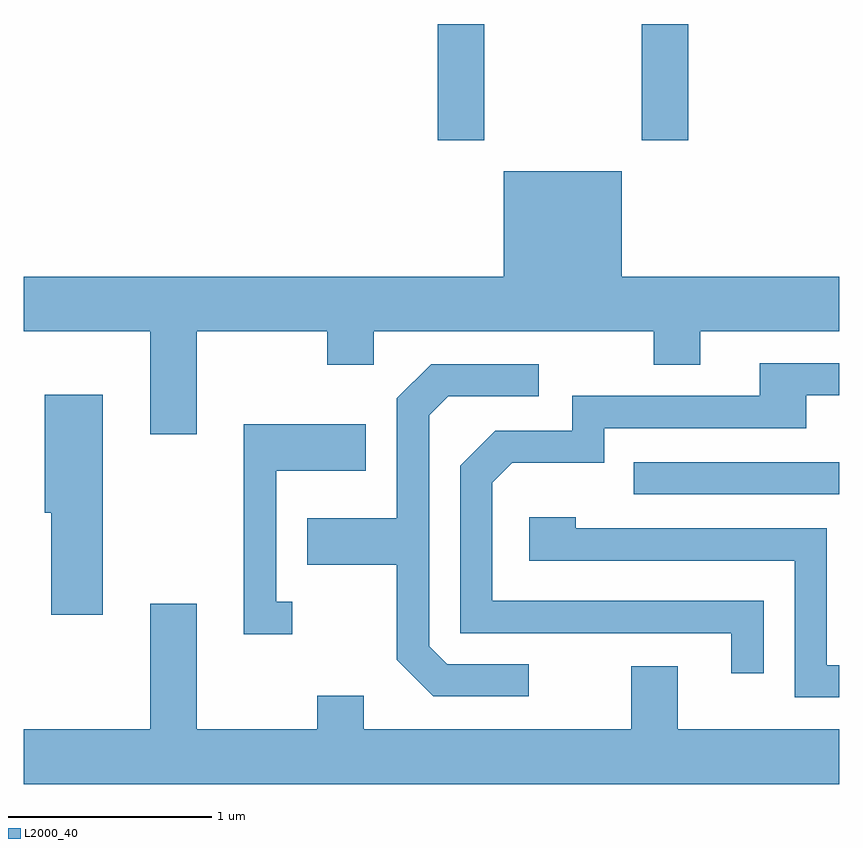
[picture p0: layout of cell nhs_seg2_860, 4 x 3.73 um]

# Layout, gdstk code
import gdstk
lib = gdstk.Library(unit=1e-6, precision=1e-09)
def R(c, l, rs):  # rectangles x0, y0, x1, y1
    for r in rs: c.add(gdstk.rectangle(r[:2], r[2:], *l))
def P(c, l, *ps):  # polygons
    for p in ps: c.add(gdstk.Polygon(p, *l))
L2000_40 = (2000, 40)

nhs_seg2_860 = lib.new_cell('nhs_seg2_860')
R(nhs_seg2_860, L2000_40, [(212.603,1067.496,213.611,1067.654), (211.641,1069.231,211.869,1069.802), (212.641,1069.231,212.869,1069.802)])
P(nhs_seg2_860, L2000_40, [(210.459,1068.296),(211.101,1068.296),(211.101,1068.131),(211.329,1068.131),(211.329,1068.296),(212.701,1068.296),(212.701,1068.131),(212.929,1068.131),(212.929,1068.296),(213.611,1068.296),(213.611,1068.564),(212.544,1068.564),(212.544,1069.079),(211.966,1069.079),(211.966,1068.564),(209.611,1068.564),(209.611,1068.296),(210.231,1068.296),(210.231,1067.791),(210.459,1067.791)],
  [(213.239,1066.974),(211.909,1066.974),(211.909,1067.554),(212.007,1067.651),(212.459,1067.651),(212.459,1067.821),(213.449,1067.821),(213.449,1067.981),(213.611,1067.981),(213.611,1068.139),(213.221,1068.139),(213.221,1067.979),(212.301,1067.979),(212.301,1067.809),(211.924,1067.809),(211.751,1067.637),(211.751,1066.816),(213.081,1066.816),(213.081,1066.618),(213.239,1066.618)],
  [(212.088,1066.664),(211.687,1066.664),(211.599,1066.752),(211.599,1067.884),(211.692,1067.976),(212.138,1067.976),(212.138,1068.134),(211.609,1068.134),(211.441,1067.967),(211.441,1067.379),(211.001,1067.379),(211.001,1067.151),(211.441,1067.151),(211.441,1066.684),(211.619,1066.506),(212.088,1066.506)],
  [(209.999,1067.984),(209.716,1067.984),(209.716,1067.406),(209.746,1067.406),(209.746,1066.906),(209.999,1066.906)],
  [(210.928,1066.969),(210.849,1066.969),(210.849,1067.611),(211.289,1067.611),(211.289,1067.839),(210.691,1067.839),(210.691,1066.811),(210.928,1066.811)],
  [(213.611,1066.659),(213.549,1066.659),(213.549,1067.329),(212.319,1067.329),(212.319,1067.384),(212.091,1067.384),(212.091,1067.171),(213.391,1067.171),(213.391,1066.501),(213.611,1066.501)],
  [(213.611,1066.344),(212.819,1066.344),(212.819,1066.654),(212.591,1066.654),(212.591,1066.344),(211.279,1066.344),(211.279,1066.509),(211.051,1066.509),(211.051,1066.344),(210.459,1066.344),(210.459,1066.959),(210.231,1066.959),(210.231,1066.344),(209.611,1066.344),(209.611,1066.076),(213.611,1066.076)])

lib.write_gds('nhs_seg2_860.gds')
